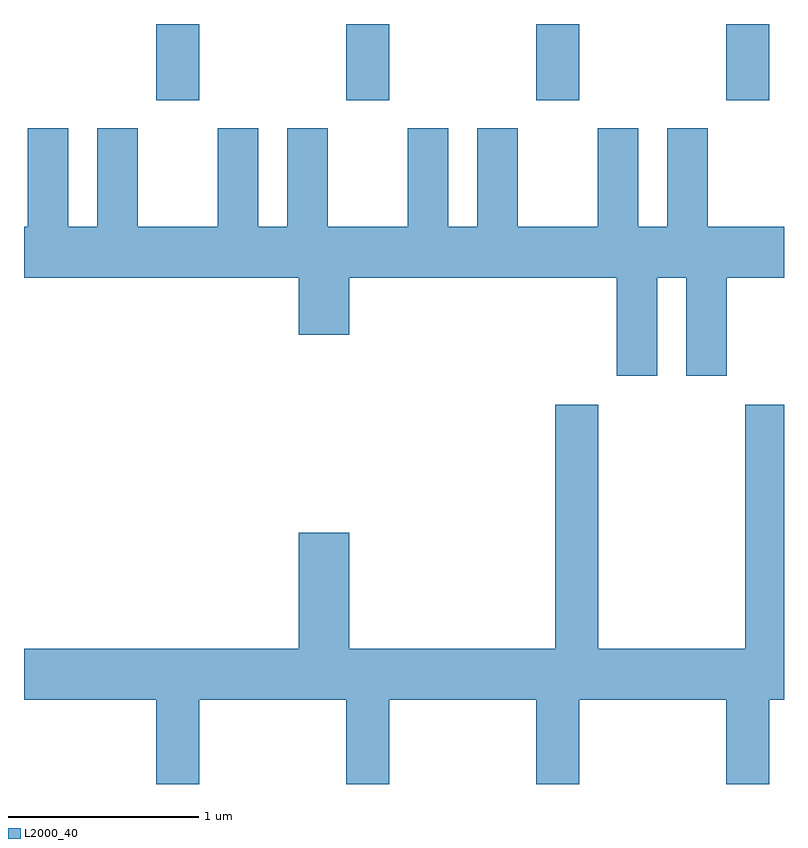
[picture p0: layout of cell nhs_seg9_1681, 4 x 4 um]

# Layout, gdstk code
import gdstk
lib = gdstk.Library(unit=1e-6, precision=1e-09)
def R(c, l, rs):  # rectangles x0, y0, x1, y1
    for r in rs: c.add(gdstk.rectangle(r[:2], r[2:], *l))
def A(c, l, x, y, w, h, nx, ny, dx, dy):  # array of equal rectangles
    R(c, l, [(x+i*dx, y+j*dy, x+i*dx+w, y+j*dy+h) for i in range(nx) for j in range(ny)])
def P(c, l, *ps):  # polygons
    for p in ps: c.add(gdstk.Polygon(p, *l))
L2000_40 = (2000, 40)

nhs_seg9_1681 = lib.new_cell('nhs_seg9_1681')
A(nhs_seg9_1681, L2000_40, 234.306, 2046.031, 0.228, 0.401, 4, 1, 1, 0)
P(nhs_seg9_1681, L2000_40, [(236.944,2045.096),(237.096,2045.096),(237.096,2044.581),(237.309,2044.581),(237.309,2045.096),(237.611,2045.096),(237.611,2045.364),(237.209,2045.364),(237.209,2045.884),(236.996,2045.884),(236.996,2045.364),(236.844,2045.364),(236.844,2045.884),(236.631,2045.884),(236.631,2045.364),(236.209,2045.364),(236.209,2045.884),(235.996,2045.884),(235.996,2045.364),(235.844,2045.364),(235.844,2045.884),(235.631,2045.884),(235.631,2045.364),(235.209,2045.364),(235.209,2045.884),(234.996,2045.884),(234.996,2045.364),(234.844,2045.364),(234.844,2045.884),(234.631,2045.884),(234.631,2045.364),(234.209,2045.364),(234.209,2045.884),(233.996,2045.884),(233.996,2045.364),(233.844,2045.364),(233.844,2045.884),(233.631,2045.884),(233.631,2045.364),(233.611,2045.364),(233.611,2045.096),(235.056,2045.096),(235.056,2044.796),(235.324,2044.796),(235.324,2045.096),(236.731,2045.096),(236.731,2044.581),(236.944,2044.581)],
  [(234.534,2042.876),(235.306,2042.876),(235.306,2042.432),(235.534,2042.432),(235.534,2042.876),(236.306,2042.876),(236.306,2042.432),(236.534,2042.432),(236.534,2042.876),(237.306,2042.876),(237.306,2042.432),(237.534,2042.432),(237.534,2042.876),(237.611,2042.876),(237.611,2044.429),(237.406,2044.429),(237.406,2043.144),(236.634,2043.144),(236.634,2044.429),(236.406,2044.429),(236.406,2043.144),(235.324,2043.144),(235.324,2043.754),(235.056,2043.754),(235.056,2043.144),(233.611,2043.144),(233.611,2042.876),(234.306,2042.876),(234.306,2042.432),(234.534,2042.432)])

lib.write_gds('nhs_seg9_1681.gds')
